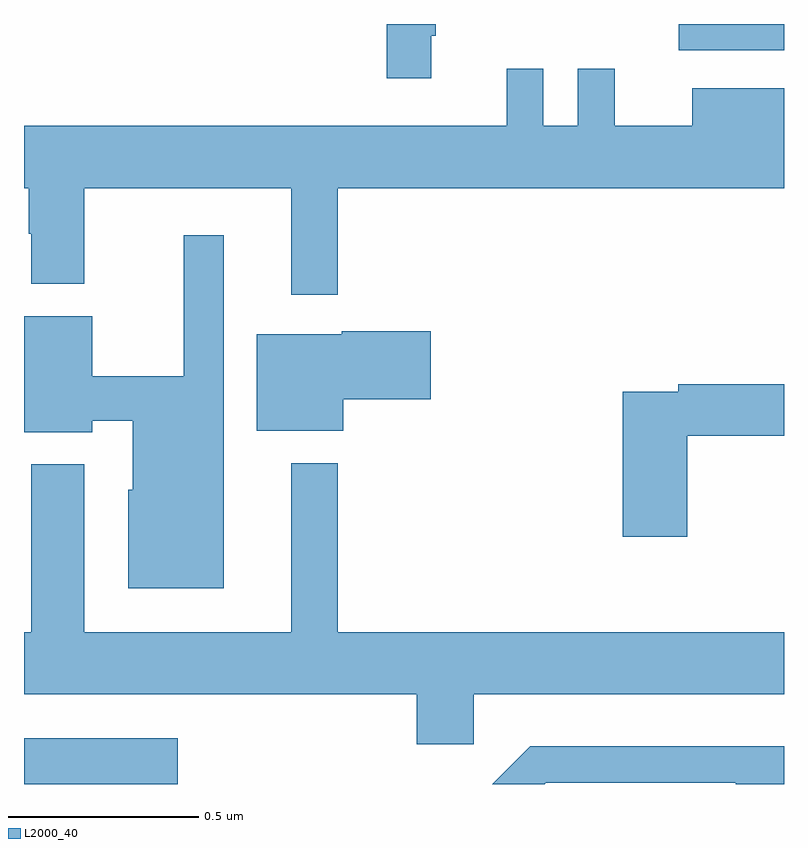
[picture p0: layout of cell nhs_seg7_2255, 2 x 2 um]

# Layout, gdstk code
import gdstk
lib = gdstk.Library(unit=1e-6, precision=1e-09)
def R(c, l, rs):  # rectangles x0, y0, x1, y1
    for r in rs: c.add(gdstk.rectangle(r[:2], r[2:], *l))
def P(c, l, *ps):  # polygons
    for p in ps: c.add(gdstk.Polygon(p, *l))
L2000_40 = (2000, 40)

nhs_seg7_2255 = lib.new_cell('nhs_seg7_2255')
R(nhs_seg7_2255, L2000_40, [(142,1047,142.405,1047.121), (143.723,1048.931,144,1049)])
P(nhs_seg7_2255, L2000_40, [(143.072,1048.969),(143.083,1048.969),(143.083,1049),(142.954,1049),(142.954,1048.857),(143.072,1048.857)],
  [(142.825,1048.568),(144,1048.568),(144,1048.831),(143.759,1048.831),(143.759,1048.732),(143.555,1048.732),(143.555,1048.882),(143.457,1048.882),(143.457,1048.732),(143.367,1048.732),(143.367,1048.882),(143.27,1048.882),(143.27,1048.732),(142,1048.732),(142,1048.568),(142.012,1048.568),(142.012,1048.448),(142.019,1048.448),(142.019,1048.316),(142.159,1048.316),(142.159,1048.568),(142.703,1048.568),(142.703,1048.287),(142.825,1048.287)],
  [(142.525,1048.444),(142.421,1048.444),(142.421,1048.073),(142.18,1048.073),(142.18,1048.231),(142,1048.231),(142,1047.926),(142.18,1047.926),(142.18,1047.956),(142.286,1047.956),(142.286,1047.774),(142.274,1047.774),(142.274,1047.515),(142.525,1047.515)],
  [(142.84,1048.013),(143.071,1048.013),(143.071,1048.191),(142.836,1048.191),(142.836,1048.183),(142.613,1048.183),(142.613,1047.929),(142.84,1047.929)],
  [(143.746,1047.916),(144,1047.916),(144,1048.052),(143.722,1048.052),(143.722,1048.032),(143.576,1048.032),(143.576,1047.651),(143.746,1047.651)],
  [(143.184,1047.236),(144,1047.236),(144,1047.4),(142.825,1047.4),(142.825,1047.844),(142.703,1047.844),(142.703,1047.4),(142.159,1047.4),(142.159,1047.841),(142.019,1047.841),(142.019,1047.4),(142,1047.4),(142,1047.236),(143.033,1047.236),(143.033,1047.105),(143.184,1047.105)],
  [(143.373,1047.003),(143.873,1047.003),(143.873,1047),(144,1047),(144,1047.1),(143.332,1047.1),(143.232,1047),(143.37,1047)])

lib.write_gds('nhs_seg7_2255.gds')
